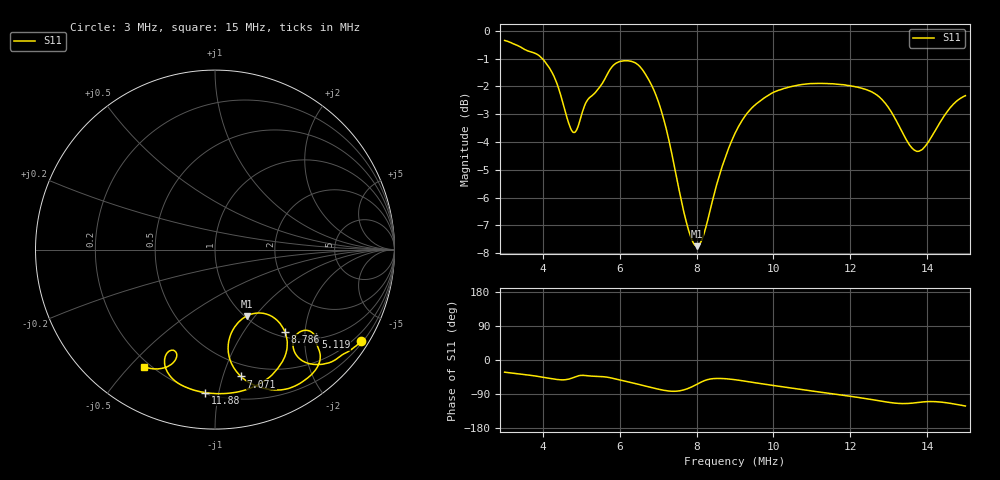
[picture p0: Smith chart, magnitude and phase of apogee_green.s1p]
# Hz S RI R 50
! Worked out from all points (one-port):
!   505 points, 3 MHz to 15 MHz, reference 50 ohm
!   lowest |S11| = -7.7 dB at 8 MHz (marker M1), VSWR 2.39, Z = 51 - j45.4 ohm
!   |S11| at or under -10 dB: nowhere
!   S11 on the Smith chart (normalised r, x): 3 MHz: 0.26, -3.45; 5.119 MHz: 1.04, -2.26; 7.071 MHz: 0.39, -1.15; 8.786 MHz: 1.09, -1.57; 11.88 MHz: 0.21, -0.91; 15 MHz: 0.17, -0.55
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3000000  0.8132 -0.511
4047500  0.6069 -0.6373
4309400  0.521 -0.6342
4523700  0.4513 -0.5849
4714200  0.4376 -0.5057
4880900  0.4861 -0.4526
5119000  0.5599 -0.4882
5714209  0.5858 -0.6085
6023709  0.5281 -0.705
6571309  0.3426 -0.7823
7071309  0.1443 -0.7067
7309409  0.084 -0.6157
7523709  0.0751 -0.5201
7999818  0.1765 -0.3699
8309318  0.29 -0.3603
8785518  0.3897 -0.4588
9023618  0.4025 -0.5209
9714118  0.3431 -0.6703
1.052363e7  0.207 -0.7678
1.188073e7  -0.0559 -0.7966
1.202353e7  -0.0838 -0.791
1.254733e7  -0.1901 -0.7537
1.297594e7  -0.266 -0.6809
1.352354e7  -0.2608 -0.5696
1.378544e7  -0.2258 -0.5634
1.416634e7  -0.2206 -0.6145
1.459494e7  -0.2973 -0.6623
1.499974e7  -0.3983 -0.6521
